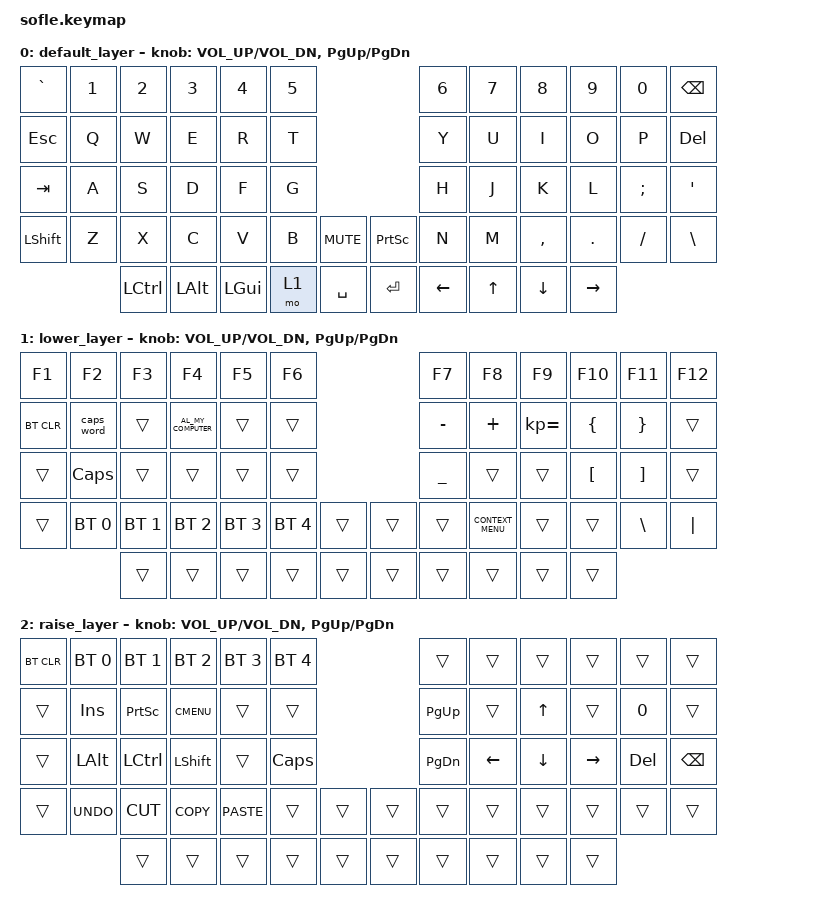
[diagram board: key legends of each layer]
/*
 * Copyright (c) 2020 The ZMK Contributors
 *
 * SPDX-License-Identifier: MIT
 */

#include <behaviors.dtsi>
#include <dt-bindings/zmk/bt.h>
#include <dt-bindings/zmk/keys.h>

/ {
    keymap {
        compatible = "zmk,keymap";

        default_layer {
            // ------------------------------------------------------------------------------------------------------------
            // |  `    |  1  |  2  |  3   |  4   |  5   |                   |  6   |  7    |  8    |  9   |   0   |       |
            // |  ESC  |  Q  |  W  |  E   |  R   |  T   |                   |  Y   |  U    |  I    |  O   |   P   | BKSPC |
            // |  TAB  |  A  |  S  |  D   |  F   |  G   |                   |  H   |  J    |  K    |  L   |   ;   |   '   |
            // | SHIFT |  Z  |  X  |  C   |  V   |  B   |  MUTE  |  |       |  N   |  M    |  ,    |  .   |   /   | SHIFT |
            //               | GUI | ALT  | CTRL | LOWER|  ENTER |  | SPACE | RAISE| CTRL  | ALT   | GUI  |

            bindings = <
&kp GRAVE  &kp N1  &kp N2     &kp N3    &kp N4    &kp N5                               &kp N6    &kp N7  &kp N8          &kp N9     &kp N0    &kp BSPC
&kp ESC    &kp Q   &kp W      &kp E     &kp R     &kp T                                &kp Y     &kp U   &kp I           &kp O      &kp P     &kp DEL
&kp TAB    &kp A   &kp S      &kp D     &kp F     &kp G                                &kp H     &kp J   &kp K           &kp L      &kp SEMI  &kp SQT
&kp LSHFT  &kp Z   &kp X      &kp C     &kp V     &kp B   &kp C_MUTE  &kp PRINTSCREEN  &kp N     &kp M   &kp COMMA       &kp DOT    &kp FSLH  &kp BACKSLASH
                   &kp LCTRL  &kp LALT  &kp LGUI  &mo 1   &kp SPACE   &kp ENTER        &kp LEFT  &kp UP  &kp DOWN_ARROW  &kp RIGHT
            >;

            sensor-bindings = <&inc_dec_kp C_VOL_UP C_VOL_DN &inc_dec_kp PG_UP PG_DN>;
        };

        lower_layer {
            // TODO: Some binds are waiting for shifted keycode support.
            // ------------------------------------------------------------------------------------------------------------
            // |       |  F1 |  F2 |  F3  |  F4  |  F5  |                   |  F6  |  F7   |  F8   |  F9  |  F10  |  F11  |
            // | `     |   1 |   2 |   3  |   4  |   5  |                   |   6  |   7   |   8   |   9  |    0  |  F12  |
            // |       |  !  |  @  |  #   |  $   |  %   |                   |  ^   |  &    |  *    |  (   |   )   |   |   |
            // |       |  =  |  -  |  +   |  {   |  }   |        |  |       |  [   |  ]    |  ;    |  :   |   \   |       |
            //               |     |      |      |      |        |  |       |      |       |       |      |

            bindings = <
&kp F1      &kp F2        &kp F3        &kp F4                &kp F5        &kp F6                        &kp F7     &kp F8              &kp F9        &kp F10           &kp F11            &kp F12
&bt BT_CLR  &caps_word    &trans        &kp C_AL_MY_COMPUTER  &trans        &trans                        &kp MINUS  &kp PLUS            &kp KP_EQUAL  &kp LEFT_BRACE    &kp RIGHT_BRACE    &trans
&trans      &kp CAPSLOCK  &trans        &trans                &trans        &trans                        &kp UNDER  &trans              &trans        &kp LEFT_BRACKET  &kp RIGHT_BRACKET  &trans
&trans      &bt BT_SEL 0  &bt BT_SEL 1  &bt BT_SEL 2          &bt BT_SEL 3  &bt BT_SEL 4  &trans  &trans  &trans     &kp K_CONTEXT_MENU  &trans        &trans            &kp BACKSLASH      &kp PIPE
                          &trans        &trans                &trans        &trans        &trans  &trans  &trans     &trans              &trans        &trans
            >;

            sensor-bindings = <&inc_dec_kp C_VOL_UP C_VOL_DN &inc_dec_kp PG_UP PG_DN>;
        };

        raise_layer {
            // ------------------------------------------------------------------------------------------------------------
            // |BTCLR| BT1  | BT2  |  BT3  |  BT4  |  BT5 |                |      |      |       |      |       |       |
            // |     | INS  | PSCR | GUI   |       |      |                | PGUP |      |   ^   |      |       |       |
            // |     | ALT  | CTRL | SHIFT |       | CAPS |                | PGDN |   <- |   v   |  ->  |  DEL  | BKSPC |
            // |     | UNDO | CUT  | COPY  | PASTE |      |      |  |      |      |      |       |      |       |       |
            //              |      |       |       |      |      |  |      |      |      |       |      |

            bindings = <
&bt BT_CLR  &bt BT_SEL 0  &bt BT_SEL 1  &bt BT_SEL 2  &bt BT_SEL 3  &bt BT_SEL 4                  &trans     &trans    &trans    &trans     &trans   &trans
&trans      &kp INS       &kp PSCRN     &kp K_CMENU   &trans        &trans                        &kp PG_UP  &trans    &kp UP    &trans     &kp N0   &trans
&trans      &kp LALT      &kp LCTRL     &kp LSHFT     &trans        &kp CLCK                      &kp PG_DN  &kp LEFT  &kp DOWN  &kp RIGHT  &kp DEL  &kp BSPC
&trans      &kp K_UNDO    &kp K_CUT     &kp K_COPY    &kp K_PASTE   &trans        &trans  &trans  &trans     &trans    &trans    &trans     &trans   &trans
                          &trans        &trans        &trans        &trans        &trans  &trans  &trans     &trans    &trans    &trans
            >;

            sensor-bindings = <&inc_dec_kp C_VOL_UP C_VOL_DN &inc_dec_kp PG_UP PG_DN>;
        };
    };
};
